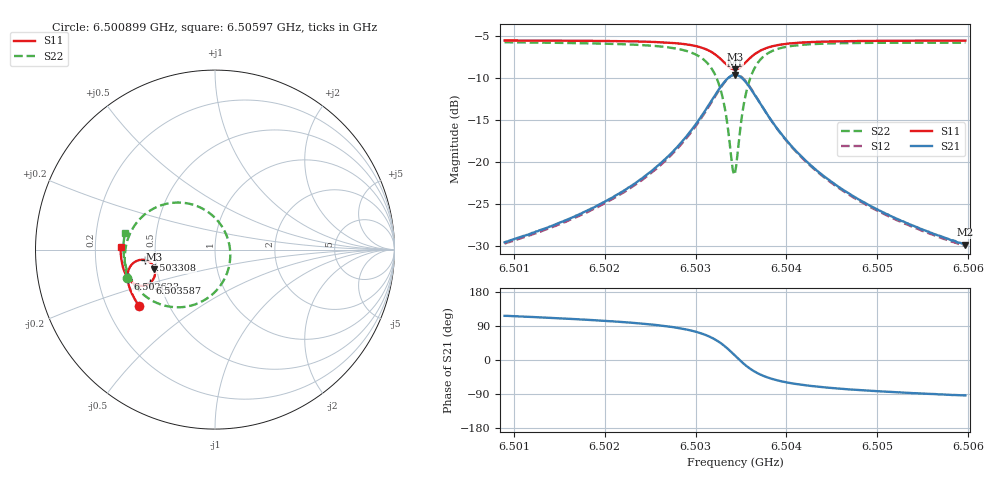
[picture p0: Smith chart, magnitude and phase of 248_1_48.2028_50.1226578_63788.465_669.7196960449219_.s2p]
#  HZ  S  RI  R  50.00
! Rohde & Schwarz Vector Network Analyzer
! Rohde-Schwarz,ZNB20-2Port,1311601062101988,3.16
! Created: UTC 3/20/2024, 11:47:08 AM
! freq[Hz]  re:S11  im:S11  re:S21  im:S21  re:S12  im:S12  re:S22  im:S22
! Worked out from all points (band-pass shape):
!   401 points, 6.500899 GHz to 6.50597 GHz, reference 50 ohm
!   highest |S21| = -9.67 dB at 6.503435 GHz (marker M1); lowest = -29.9 dB at 6.50597 GHz (marker M2)
!   |S21| within 3 dB of the highest: 6.503181 GHz to 6.503688 GHz (507.3 kHz wide, 0.0078 % of centre)
!   lowest |S11| = -9.0 dB at 6.503435 GHz (marker M3), VSWR 2.10, Z = 24.3 - j5.98 ohm
!   |S11| at or under -10 dB: nowhere
!   |S22| runs from -21.5 to -5.8 dB; largest |S21 - S12| = 0.011
!   S11 on the Smith chart (normalised r, x): 6.500899 GHz: 0.34, -0.29; 6.502623 GHz: 0.33, -0.15; 6.503308 GHz: 0.44, -0.06; 6.503587 GHz: 0.44, -0.20; 6.50597 GHz: 0.31, +0.01
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6.5008992e9  -0.4239 -0.3125  -0.0148 0.0297  -0.0132 0.0299  -0.4886 -0.1587
6.5017486e9  -0.4607 -0.2501  -0.0144 0.0473  -0.0119 0.047  -0.5026 -0.0692
6.5022176e9  -0.4775 -0.2088  -0.0114 0.0668  -0.00847 0.0655  -0.4999 -0.00314
6.502598e9  -0.4866 -0.1671  -0.00247 0.0959  0.00101 0.0937  -0.4806 0.0723
6.5026233e9  -0.4869 -0.1638  -0.00142 0.0988  0.00221 0.0963  -0.4783 0.0785
6.5029149e9  -0.4833 -0.1192  0.0257 0.1425  0.0294 0.1381  -0.4217 0.1674
6.5031051e9  -0.4621 -0.0811  0.0798 0.1844  0.0822 0.1783  -0.3185 0.2397
6.5032192e9  -0.4297 -0.0604  0.1488 0.2021  0.1496 0.1957  -0.1942 0.2621
6.5033079e9  -0.3893 -0.0587  0.2283 0.1857  0.2284 0.1806  -0.0571 0.2214
6.5033459e9  -0.3702 -0.0664  0.2643 0.1625  0.2651 0.1579  0.00274 0.1742
6.5034093e9  -0.3435 -0.093  0.3119 0.0985  0.3144 0.0935  0.0742 0.0511
6.5034347e9  -0.3372 -0.1077  0.3219 0.0662  0.3251 0.0603  0.0848 -0.00918
6.50346e9  -0.3343 -0.1234  0.3254 0.0326  0.3288 0.0256  0.0825 -0.0706
6.5035234e9  -0.3416 -0.1605  0.307 -0.0452  0.309 -0.0551  0.0265 -0.2054
6.5035868e9  -0.3628 -0.1863  0.264 -0.099  0.2629 -0.1104  -0.0705 -0.2877
6.5036882e9  -0.4022 -0.2014  0.1894 -0.1349  0.184 -0.1443  -0.2201 -0.3212
6.503853e9  -0.4483 -0.1916  0.1081 -0.1317  0.101 -0.1366  -0.3669 -0.2743
6.5040305e9  -0.4756 -0.1703  0.0637 -0.1116  0.0574 -0.1138  -0.4386 -0.2094
6.5042841e9  -0.4963 -0.1403  0.0338 -0.0874  0.029 -0.0879  -0.4818 -0.1374
6.5046644e9  -0.5117 -0.1008  0.0148 -0.0644  0.0116 -0.0639  -0.5041 -0.0626
6.5051335e9  -0.5211 -0.0575  0.00526 -0.0477  0.00276 -0.0472  -0.5102 0.00332
6.5059702e9  -0.526 0.0131  -0.00188 -0.032  -0.00337 -0.0313  -0.5021 0.0913
